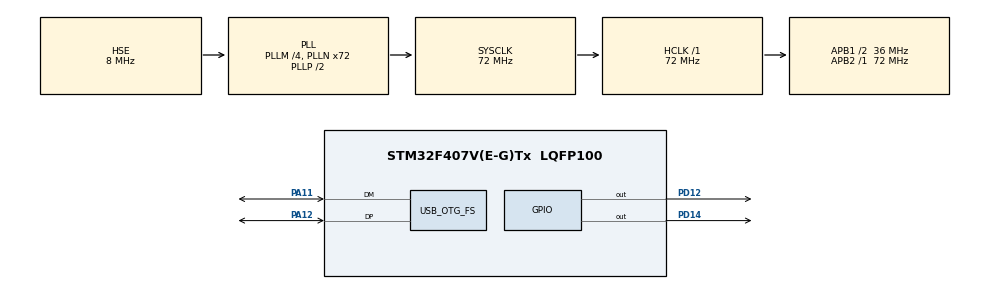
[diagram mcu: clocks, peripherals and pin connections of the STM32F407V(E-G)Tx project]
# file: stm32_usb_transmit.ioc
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Mcu.Family=STM32F4
Mcu.Name=STM32F407V(E-G)Tx
Mcu.Package=LQFP100
NVIC.OTG_FS_IRQn=true\:0\:0\:false\:false\:true\:false\:true\:true
NVIC.PriorityGroup=NVIC_PRIORITYGROUP_4
PA11.Mode=Device_Only
PA11.Signal=USB_OTG_FS_DM
PA12.Mode=Device_Only
PA12.Signal=USB_OTG_FS_DP
PA13.Mode=Serial_Wire
PA13.Signal=SYS_JTMS-SWDIO
PA14.Mode=Serial_Wire
PA14.Signal=SYS_JTCK-SWCLK
PD12.Signal=GPIO_Output
PD14.Signal=GPIO_Output
PH0-OSC_IN.Mode=HSE-External-Oscillator
PH0-OSC_IN.Signal=RCC_OSC_IN
PH1-OSC_OUT.Mode=HSE-External-Oscillator
PH1-OSC_OUT.Signal=RCC_OSC_OUT
ProjectManager.HeapSize=0x200
ProjectManager.StackSize=0x400
ProjectManager.TargetToolchain=STM32CubeIDE
RCC.48MHZClocksFreq_Value=48000000
RCC.AHBFreq_Value=72000000
RCC.APB1CLKDivider=RCC_HCLK_DIV2
RCC.APB1Freq_Value=36000000
RCC.APB1TimFreq_Value=72000000
RCC.APB2Freq_Value=72000000
RCC.APB2TimFreq_Value=72000000
RCC.CortexFreq_Value=72000000
RCC.HCLKFreq_Value=72000000
RCC.HSE_VALUE=8000000
RCC.HSI_VALUE=16000000
RCC.LSE_VALUE=32768
RCC.PLLM=4
RCC.PLLN=72
RCC.PLLQ=3
RCC.SYSCLKFreq_VALUE=72000000
RCC.SYSCLKSource=RCC_SYSCLKSOURCE_PLLCLK
RCC.VCOOutputFreq_Value=144000000
USB_DEVICE.CLASS_NAME_FS=CDC
USB_DEVICE.PRODUCT_STRING_CDC_FS=STM32 Virtual Port
USB_DEVICE.VirtualMode-CDC_FS=Cdc
USB_DEVICE.VirtualModeFS=Cdc_FS
USB_OTG_FS.VirtualMode=Device_Only
VP_USB_DEVICE_VS_USB_DEVICE_CDC_FS.Mode=CDC_FS
board=custom

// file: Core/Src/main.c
/* USER CODE BEGIN Header */
/**
  ******************************************************************************
  * @file           : main.c
  * @brief          : Main program body
  ******************************************************************************
  * @attention
  *
  * Copyright (c) 2024 STMicroelectronics.
  * All rights reserved.
  *
  * This software is licensed under terms that can be found in the LICENSE file
  * in the root directory of this software component.
  * If no LICENSE file comes with this software, it is provided AS-IS.
  *
  ******************************************************************************
  */
/* USER CODE END Header */
#include "main.h"
#include "usb_device.h"

/* USER CODE BEGIN Includes */

#include "usbd_cdc_if.h"
#include "string.h"
#include "usb_device.h"
#include "usbd_desc.h"
#include "usbd_conf.h"

char *dataToBeSent = "Hello From Eren!\n\r";
char dataReceive[4];
char actualData[4] = "led1";
uint8_t controlValue = 0;

/* USER CODE END Includes */

void SystemClock_Config(void);
static void MX_GPIO_Init(void);

int main(void)
{

  /* MCU Configuration--------------------------------------------------------*/

  /* Reset of all peripherals, Initializes the Flash interface and the Systick. */
  HAL_Init();

  /* Configure the system clock */
  SystemClock_Config();

  /* Initialize all configured peripherals */
  MX_GPIO_Init();
  MX_USB_DEVICE_Init();

  /* Infinite loop */
  while (1)
  {

    /* USER CODE BEGIN 3 */

	  CDC_Transmit_FS((uint8_t *)dataToBeSent,strlen(dataToBeSent));
	  HAL_Delay(1000);

	  CDC_Receive_FS((uint8_t *)dataReceive,4);

	  for(int i = 0;i < 4;i++)
	  {
		  if(dataReceive[i] != actualData[i])
		  {
			  controlValue = controlValue + 1;
		  }
	  }

	  if(controlValue != 0)
	  {
		  HAL_GPIO_WritePin(GPIOD,GPIO_PIN_14,GPIO_PIN_SET);
		  HAL_GPIO_WritePin(GPIOD,GPIO_PIN_12,GPIO_PIN_RESET);
//		  for(int i = 0;i < 4;i++)
//		  {
//			  dataReceive[i] = 0;
//		  }
		  controlValue = 0;
	  }
	  else
	  {
		  HAL_GPIO_WritePin(GPIOD,GPIO_PIN_14,GPIO_PIN_RESET);
		  		  HAL_GPIO_WritePin(GPIOD,GPIO_PIN_12,GPIO_PIN_SET);
//		  for(int i = 0;i < 4;i++)
//		  {
//			  dataReceive[i] = 0;
//		  }
		  controlValue = 0;
	  }

  }
  /* USER CODE END 3 */
}

void SystemClock_Config(void)
{
  RCC_OscInitTypeDef RCC_OscInitStruct = {0};
  RCC_ClkInitTypeDef RCC_ClkInitStruct = {0};

  /** Configure the main internal regulator output voltage
  */
  __HAL_RCC_PWR_CLK_ENABLE();
  __HAL_PWR_VOLTAGESCALING_CONFIG(PWR_REGULATOR_VOLTAGE_SCALE1);

  /** Initializes the RCC Oscillators according to the specified parameters
  * in the RCC_OscInitTypeDef structure.
  */
  RCC_OscInitStruct.OscillatorType = RCC_OSCILLATORTYPE_HSE;
  RCC_OscInitStruct.HSEState = RCC_HSE_ON;
  RCC_OscInitStruct.PLL.PLLState = RCC_PLL_ON;
  RCC_OscInitStruct.PLL.PLLSource = RCC_PLLSOURCE_HSE;
  RCC_OscInitStruct.PLL.PLLM = 4;
  RCC_OscInitStruct.PLL.PLLN = 72;
  RCC_OscInitStruct.PLL.PLLP = RCC_PLLP_DIV2;
  RCC_OscInitStruct.PLL.PLLQ = 3;
  if (HAL_RCC_OscConfig(&RCC_OscInitStruct) != HAL_OK)
  {
    Error_Handler();
  }

  /** Initializes the CPU, AHB and APB buses clocks
  */
  RCC_ClkInitStruct.ClockType = RCC_CLOCKTYPE_HCLK|RCC_CLOCKTYPE_SYSCLK
                              |RCC_CLOCKTYPE_PCLK1|RCC_CLOCKTYPE_PCLK2;
  RCC_ClkInitStruct.SYSCLKSource = RCC_SYSCLKSOURCE_PLLCLK;
  RCC_ClkInitStruct.AHBCLKDivider = RCC_SYSCLK_DIV1;
  RCC_ClkInitStruct.APB1CLKDivider = RCC_HCLK_DIV2;
  RCC_ClkInitStruct.APB2CLKDivider = RCC_HCLK_DIV1;

  if (HAL_RCC_ClockConfig(&RCC_ClkInitStruct, FLASH_LATENCY_2) != HAL_OK)
  {
    Error_Handler();
  }
}

static void MX_GPIO_Init(void)
{
  GPIO_InitTypeDef GPIO_InitStruct = {0};

  /* GPIO Ports Clock Enable */
  __HAL_RCC_GPIOH_CLK_ENABLE();
  __HAL_RCC_GPIOD_CLK_ENABLE();
  __HAL_RCC_GPIOA_CLK_ENABLE();

  /*Configure GPIO pin Output Level */
  HAL_GPIO_WritePin(GPIOD, GPIO_PIN_12|GPIO_PIN_14, GPIO_PIN_RESET);

  /*Configure GPIO pins : PD12 PD14 */
  GPIO_InitStruct.Pin = GPIO_PIN_12|GPIO_PIN_14;
  GPIO_InitStruct.Mode = GPIO_MODE_OUTPUT_PP;
  GPIO_InitStruct.Pull = GPIO_NOPULL;
  GPIO_InitStruct.Speed = GPIO_SPEED_FREQ_LOW;
  HAL_GPIO_Init(GPIOD, &GPIO_InitStruct);

}

void Error_Handler(void)
{
  __disable_irq();
  while (1)
  {
  }
}
